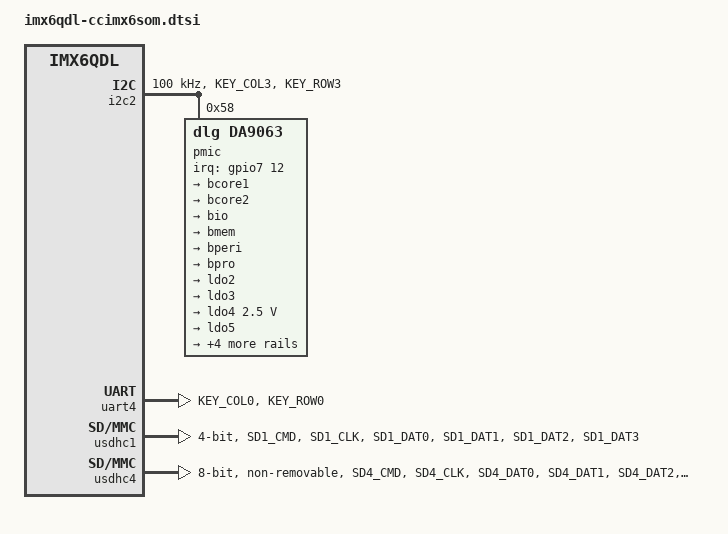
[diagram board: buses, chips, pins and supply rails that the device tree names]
// SPDX-License-Identifier: GPL-2.0 OR X11
/*
 * Copyright 2019 Digi International, Inc.
 */

/ {
	memory@10000000 {
		device_type = "memory";
		reg = <0x10000000 0>; /* will be filled by U-Boot */
	};
};

&i2c2 {
	clock-frequency = <100000>;
	pinctrl-names = "default";
	pinctrl-0 = <&pinctrl_i2c2>;
	status = "okay";

	pmic@58 {
		compatible = "dlg,da9063";
		reg = <0x58>;
		interrupt-parent = <&gpio7>;
		interrupts = <12 2>;
		pinctrl-names = "default";
		pinctrl-0 = <&pinctrl_pmic>;

		onkey {
			compatible = "dlg,da9063-onkey";
		};

		rtc {
			compatible = "dlg,da9063-rtc";
		};

		regulators {
			bcore1: bcore1 {
				regulator-name = "DA9063_BCORE1";
				regulator-boot-on;
				regulator-always-on;
			};

			bcore2: bcore2 {
				regulator-name = "DA9063_BCORE2";
				regulator-boot-on;
				regulator-always-on;
			};

			bio: bio {
				regulator-name = "DA9063_BIO";
				regulator-boot-on;
			};

			bmem: bmem {
				regulator-name = "DA9063_BMEM";
				regulator-boot-on;
				regulator-always-on;
			};

			bperi: bperi {
				regulator-name = "DA9063_BPERI";
				regulator-boot-on;
				regulator-always-on;
			};

			bpro: bpro {
				regulator-name = "DA9063_BPRO";
				regulator-boot-on;
				regulator-state-mem {
					regulator-off-in-suspend;
				};
				regulator-state-disk {
					regulator-off-in-suspend;
				};
			};

			ldo2: ldo2 {
				regulator-name = "DA9063_LDO2";
				regulator-boot-on;
			};

			ldo3: ldo3 {
				regulator-name = "DA9063_LDO3";
				regulator-boot-on;
				regulator-always-on;
			};

			ldo4: ldo4 {
				regulator-name = "DA9063_LDO4";
				regulator-min-microvolt = <2500000>;
				regulator-max-microvolt = <2500000>;
				regulator-state-mem {
					regulator-off-in-suspend;
				};
				regulator-state-disk {
					regulator-off-in-suspend;
				};
			};

			ldo5: ldo5 {
				regulator-name = "DA9063_LDO5";
				regulator-boot-on;
				regulator-always-on;
			};

			ldo6: ldo6 {
				regulator-name = "DA9063_LDO6";
				regulator-min-microvolt = <900000>;
				regulator-max-microvolt = <3600000>;
				regulator-state-mem {
					regulator-off-in-suspend;
				};
				regulator-state-disk {
					regulator-off-in-suspend;
				};
			};

			ldo7: ldo7 {
				regulator-name = "DA9063_LDO7";
				regulator-min-microvolt = <900000>;
				regulator-max-microvolt = <3600000>;
				regulator-state-mem {
					regulator-off-in-suspend;
				};
				regulator-state-disk {
					regulator-off-in-suspend;
				};
			};

			ldo8: ldo8 {
				regulator-name = "DA9063_LDO8";
				regulator-min-microvolt = <900000>;
				regulator-max-microvolt = <3600000>;
				regulator-state-mem {
					regulator-off-in-suspend;
				};
				regulator-state-disk {
					regulator-off-in-suspend;
				};
			};

			ldo11: ldo11 {
				regulator-name = "DA9063_LDO11";
				regulator-boot-on;
				regulator-always-on;
			};

		};

		wdt {
			compatible = "dlg,da9063-watchdog";
		};
	};
};

&uart4 {
	pinctrl-names = "default";
	pinctrl-0 = <&pinctrl_uart4>;
};

&usdhc1 {
	pinctrl-names = "default";
	pinctrl-0 = <&pinctrl_usdhc1>;
	bus-width = <4>;
	no-1-8-v;
	status = "okay";
};

&usdhc4 {
	pinctrl-names = "default";
	pinctrl-0 = <&pinctrl_usdhc4>;
	bus-width = <8>;
	non-removable;
	no-1-8-v;
	status = "okay";
};

&iomuxc {
	pinctrl_i2c2: i2c2 {
		fsl,pins = <
			MX6QDL_PAD_KEY_COL3__I2C2_SCL 0x4001b8b1
			MX6QDL_PAD_KEY_ROW3__I2C2_SDA 0x4001b8b1
		>;
	};

	pinctrl_pmic: pmicgrp {
		fsl,pins = <
			MX6QDL_PAD_GPIO_17__GPIO7_IO12 0x1b0b0
		>;
	};

	pinctrl_uart4: uart4 {
		fsl,pins = <
			MX6QDL_PAD_KEY_COL0__UART4_TX_DATA 0x1b0b1
			MX6QDL_PAD_KEY_ROW0__UART4_RX_DATA 0x1b0b1
		>;
	};

	pinctrl_usdhc1: usdhc1 {
		fsl,pins = <
			MX6QDL_PAD_SD1_CMD__SD1_CMD    0x17071
			MX6QDL_PAD_SD1_CLK__SD1_CLK    0x10071
			MX6QDL_PAD_SD1_DAT0__SD1_DATA0 0x17071
			MX6QDL_PAD_SD1_DAT1__SD1_DATA1 0x17071
			MX6QDL_PAD_SD1_DAT2__SD1_DATA2 0x17071
			MX6QDL_PAD_SD1_DAT3__SD1_DATA3 0x17071
		>;
	};

	pinctrl_usdhc4: usdhc4 {
		  fsl,pins = <
			  MX6QDL_PAD_SD4_CMD__SD4_CMD    0x17059
			  MX6QDL_PAD_SD4_CLK__SD4_CLK    0x10059
			  MX6QDL_PAD_SD4_DAT0__SD4_DATA0 0x17059
			  MX6QDL_PAD_SD4_DAT1__SD4_DATA1 0x17059
			  MX6QDL_PAD_SD4_DAT2__SD4_DATA2 0x17059
			  MX6QDL_PAD_SD4_DAT3__SD4_DATA3 0x17059
			  MX6QDL_PAD_SD4_DAT4__SD4_DATA4 0x17059
			  MX6QDL_PAD_SD4_DAT5__SD4_DATA5 0x17059
			  MX6QDL_PAD_SD4_DAT6__SD4_DATA6 0x17059
			  MX6QDL_PAD_SD4_DAT7__SD4_DATA7 0x17059
			  >;
	  };
};
